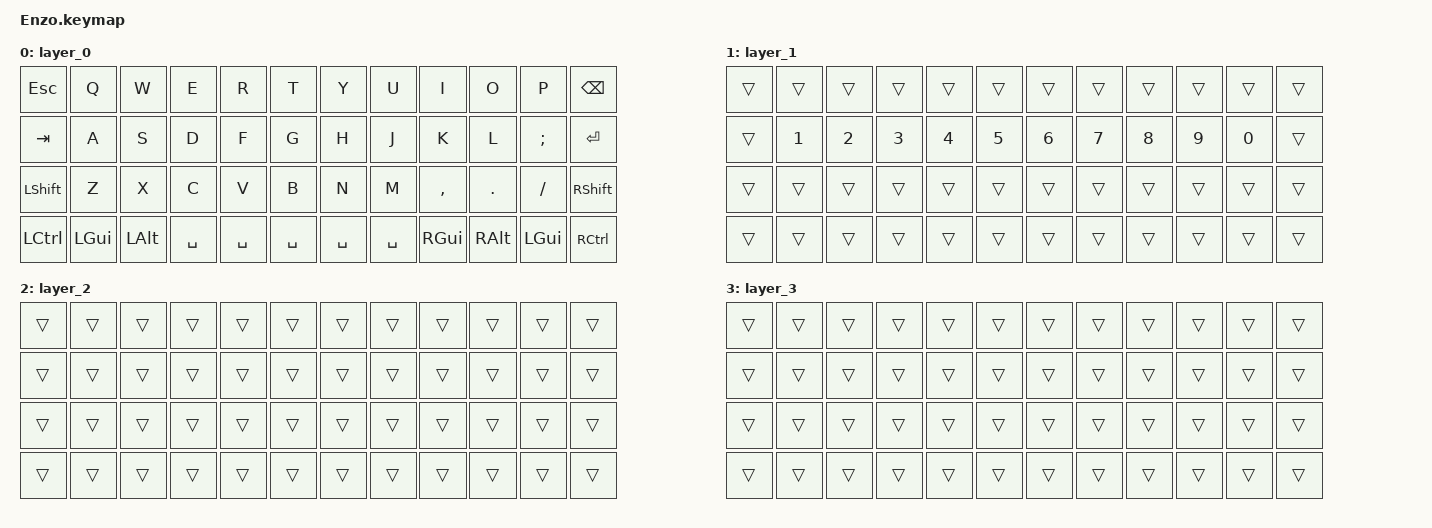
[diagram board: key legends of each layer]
#include <behaviors.dtsi>
#include <dt-bindings/zmk/keys.h>

/ {
    keymap {
        compatible = "zmk,keymap";

        layer_0 {
            bindings = <
&kp ESC    &kp Q     &kp W     &kp E      &kp R      &kp T      &kp Y      &kp U      &kp I      &kp O     &kp P     &kp BSPC
&kp TAB    &kp A     &kp S     &kp D      &kp F      &kp G      &kp H      &kp J      &kp K      &kp L     &kp SEMI  &kp ENTER
&kp LSHFT  &kp Z     &kp X     &kp C      &kp V      &kp B      &kp N      &kp M      &kp COMMA  &kp DOT   &kp FSLH  &kp RSHFT
&kp LCTRL  &kp LGUI  &kp LALT  &kp SPACE  &kp SPACE  &kp SPACE  &kp SPACE  &kp SPACE  &kp RGUI   &kp RALT  &kp LGUI  &kp RCTRL
            >;
        };

        layer_1 {
            bindings = <
&trans  &trans  &trans  &trans  &trans  &trans  &trans  &trans  &trans  &trans  &trans  &trans
&trans  &kp N1  &kp N2  &kp N3  &kp N4  &kp N5  &kp N6  &kp N7  &kp N8  &kp N9  &kp N0  &trans
&trans  &trans  &trans  &trans  &trans  &trans  &trans  &trans  &trans  &trans  &trans  &trans
&trans  &trans  &trans  &trans  &trans  &trans  &trans  &trans  &trans  &trans  &trans  &trans
            >;
        };

        layer_2 {
            bindings = <
&trans  &trans  &trans  &trans  &trans  &trans  &trans  &trans  &trans  &trans  &trans  &trans
&trans  &trans  &trans  &trans  &trans  &trans  &trans  &trans  &trans  &trans  &trans  &trans
&trans  &trans  &trans  &trans  &trans  &trans  &trans  &trans  &trans  &trans  &trans  &trans
&trans  &trans  &trans  &trans  &trans  &trans  &trans  &trans  &trans  &trans  &trans  &trans
            >;
        };

        layer_3 {
            bindings = <
&trans  &trans  &trans  &trans  &trans  &trans  &trans  &trans  &trans  &trans  &trans  &trans
&trans  &trans  &trans  &trans  &trans  &trans  &trans  &trans  &trans  &trans  &trans  &trans
&trans  &trans  &trans  &trans  &trans  &trans  &trans  &trans  &trans  &trans  &trans  &trans
&trans  &trans  &trans  &trans  &trans  &trans  &trans  &trans  &trans  &trans  &trans  &trans
            >;
        };
    };
};
